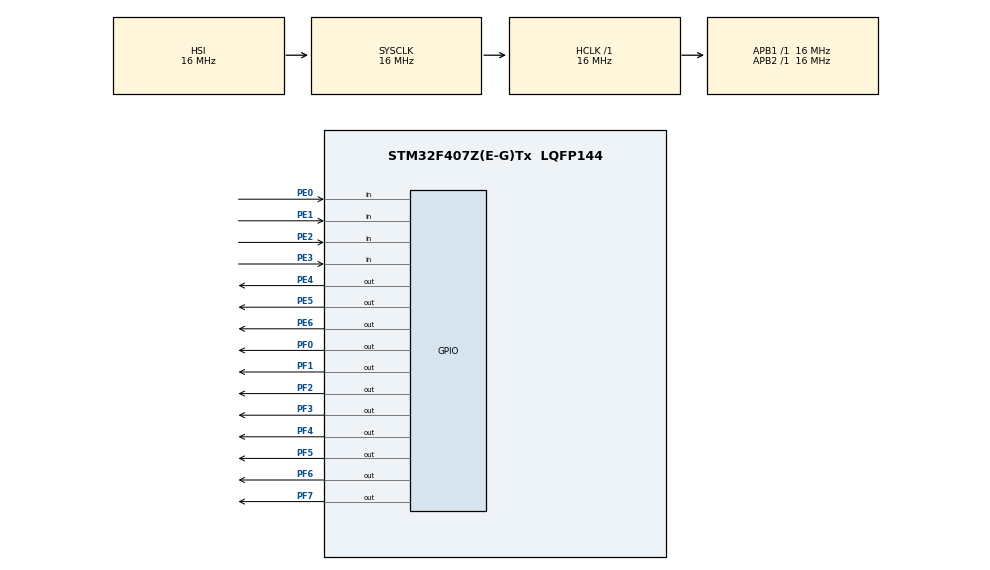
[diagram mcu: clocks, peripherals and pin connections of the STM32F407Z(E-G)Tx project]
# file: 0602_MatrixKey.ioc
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Mcu.Family=STM32F4
Mcu.Name=STM32F407Z(E-G)Tx
Mcu.Package=LQFP144
NVIC.PriorityGroup=NVIC_PRIORITYGROUP_4
PA13.Mode=Serial_Wire
PA13.Signal=SYS_JTMS-SWDIO
PA14.Mode=Serial_Wire
PA14.Signal=SYS_JTCK-SWCLK
PE0.GPIO_PuPd=GPIO_PULLUP
PE0.Signal=GPIO_Input
PE1.GPIO_PuPd=GPIO_PULLUP
PE1.Signal=GPIO_Input
PE2.GPIO_PuPd=GPIO_PULLUP
PE2.Signal=GPIO_Input
PE3.GPIO_PuPd=GPIO_PULLUP
PE3.Signal=GPIO_Input
PE4.Signal=GPIO_Output
PE5.Signal=GPIO_Output
PE6.Signal=GPIO_Output
PF0.Signal=GPIO_Output
PF1.Signal=GPIO_Output
PF2.Signal=GPIO_Output
PF3.Signal=GPIO_Output
PF4.Signal=GPIO_Output
PF5.Signal=GPIO_Output
PF6.Signal=GPIO_Output
PF7.Signal=GPIO_Output
ProjectManager.HeapSize=0x200
ProjectManager.StackSize=0x400
ProjectManager.TargetToolchain=MDK-ARM V5.32
RCC.AHBFreq_Value=16000000
RCC.APB1Freq_Value=16000000
RCC.APB2Freq_Value=16000000
RCC.CortexFreq_Value=16000000
RCC.HSE_VALUE=25000000
RCC.HSI_VALUE=16000000
RCC.LSE_VALUE=32768
RCC.SYSCLKFreq_VALUE=16000000
RCC.VCOOutputFreq_Value=192000000
board=custom

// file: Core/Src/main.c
/* USER CODE BEGIN Header */
/**
  ******************************************************************************
  * @file           : main.c
  * @brief          : Main program body
  ******************************************************************************
  * @attention
  *
  * Copyright (c) 2026 STMicroelectronics.
  * All rights reserved.
  *
  * This software is licensed under terms that can be found in the LICENSE file
  * in the root directory of this software component.
  * If no LICENSE file comes with this software, it is provided AS-IS.
  ******************************************************************************
  */
/* USER CODE END Header */
#include "main.h"

/* USER CODE BEGIN PD */
#define ROW_NUM     3
#define COL_NUM     4
uint16_t ROW_PIN[ROW_NUM] = {GPIO_PIN_4, GPIO_PIN_5, GPIO_PIN_6};
uint16_t COL_PIN[COL_NUM] = {GPIO_PIN_0, GPIO_PIN_1, GPIO_PIN_2, GPIO_PIN_3};
/* USER CODE END PD */

void SystemClock_Config(void);
static void MX_GPIO_Init(void);
/* USER CODE BEGIN PFP */
uint8_t KeyScan(void);
/* USER CODE END PFP */

/* USER CODE BEGIN 0 */
/**
 * @brief 3行4列矩阵键盘扫描
 * @retval 0:无按键  1~12 按键编号
 */
uint8_t KeyScan(void)
{
  uint8_t row, col;
  uint8_t key_val = 0;

  //所有行拉高
  for(row = 0; row < ROW_NUM; row++)
  {
    HAL_GPIO_WritePin(GPIOE, ROW_PIN[row], GPIO_PIN_SET);
  }

  for(row = 0; row < ROW_NUM; row++)
  {
    //全部行先拉高，单独拉低当前行
    for(uint8_t i = 0; i < ROW_NUM; i++)
    {
      HAL_GPIO_WritePin(GPIOE, ROW_PIN[i], GPIO_PIN_SET);
    }
    HAL_GPIO_WritePin(GPIOE, ROW_PIN[row], GPIO_PIN_RESET);

    HAL_Delay(1);
    for(col = 0; col < COL_NUM; col++)
    {
      if(HAL_GPIO_ReadPin(GPIOE, COL_PIN[col]) == GPIO_PIN_RESET)
      {
        HAL_Delay(10);   //消抖
        if(HAL_GPIO_ReadPin(GPIOE, COL_PIN[col]) == GPIO_PIN_RESET)
        {
          key_val = row * COL_NUM + col + 1;
          while(HAL_GPIO_ReadPin(GPIOE, COL_PIN[col]) == GPIO_PIN_RESET); //等待松手
          HAL_Delay(10);
          return key_val;
        }
      }
    }
  }
  return 0;
}
/* USER CODE END 0 */

int main(void)
{

  /* USER CODE BEGIN 1 */
  uint8_t key;
  /* USER CODE END 1 */

  /* MCU Configuration--------------------------------------------------------*/

  /* Reset of all peripherals, Initializes the Flash interface and the Systick. */
  HAL_Init();

  /* Configure the system clock */
  SystemClock_Config();

  /* Initialize all configured peripherals */
  MX_GPIO_Init();
  /* USER CODE BEGIN 2 */
  //上电LED全部熄灭
  HAL_GPIO_WritePin(GPIOF, GPIO_PIN_0|GPIO_PIN_1|GPIO_PIN_2|GPIO_PIN_3
                          |GPIO_PIN_4|GPIO_PIN_5|GPIO_PIN_6|GPIO_PIN_7, GPIO_PIN_RESET);
  /* USER CODE END 2 */

  /* Infinite loop */
  /* USER CODE BEGIN WHILE */
  while (1)
  {
    key = KeyScan();
    if(key != 0)
    {
      //熄灭所有LED
      HAL_GPIO_WritePin(GPIOF, GPIO_PIN_0|GPIO_PIN_1|GPIO_PIN_2|GPIO_PIN_3
                              |GPIO_PIN_4|GPIO_PIN_5|GPIO_PIN_6|GPIO_PIN_7, GPIO_PIN_RESET);
      if(key <= 8)
      {
        HAL_GPIO_WritePin(GPIOF, (1 << (key - 1)), GPIO_PIN_SET);
      }
    }
    HAL_Delay(20);
    /* USER CODE END WHILE */

  }
}

void SystemClock_Config(void)
{
  RCC_OscInitTypeDef RCC_OscInitStruct = {0};
  RCC_ClkInitTypeDef RCC_ClkInitStruct = {0};

  /** Configure the main internal regulator output voltage
  */
  __HAL_RCC_PWR_CLK_ENABLE();
  __HAL_PWR_VOLTAGESCALING_CONFIG(PWR_REGULATOR_VOLTAGE_SCALE1);

  /** Initializes the RCC Oscillators according to the specified parameters
  * in the RCC_OscInitTypeDef structure.
  */
  RCC_OscInitStruct.OscillatorType = RCC_OSCILLATORTYPE_HSI;
  RCC_OscInitStruct.HSIState = RCC_HSI_ON;
  RCC_OscInitStruct.HSICalibrationValue = RCC_HSICALIBRATION_DEFAULT;
  RCC_OscInitStruct.PLL.PLLState = RCC_PLL_NONE;
  if (HAL_RCC_OscConfig(&RCC_OscInitStruct) != HAL_OK)
  {
    Error_Handler();
  }

  /** Initializes the CPU, AHB and APB buses clocks
  */
  RCC_ClkInitStruct.ClockType = RCC_CLOCKTYPE_HCLK|RCC_CLOCKTYPE_SYSCLK
                              |RCC_CLOCKTYPE_PCLK1|RCC_CLOCKTYPE_PCLK2;
  RCC_ClkInitStruct.SYSCLKSource = RCC_SYSCLKSOURCE_HSI;
  RCC_ClkInitStruct.AHBCLKDivider = RCC_SYSCLK_DIV1;
  RCC_ClkInitStruct.APB1CLKDivider = RCC_HCLK_DIV1;
  RCC_ClkInitStruct.APB2CLKDivider = RCC_HCLK_DIV1;

  if (HAL_RCC_ClockConfig(&RCC_ClkInitStruct, FLASH_LATENCY_0) != HAL_OK)
  {
    Error_Handler();
  }
}

static void MX_GPIO_Init(void)
{
  GPIO_InitTypeDef GPIO_InitStruct = {0};

  /* GPIO Ports Clock Enable */
  __HAL_RCC_GPIOE_CLK_ENABLE();
  __HAL_RCC_GPIOF_CLK_ENABLE();
  __HAL_RCC_GPIOA_CLK_ENABLE();

  /*Configure GPIO pin Output Level */
  HAL_GPIO_WritePin(GPIOE, GPIO_PIN_4|GPIO_PIN_5|GPIO_PIN_6, GPIO_PIN_RESET);

  /*Configure GPIO pin Output Level */
  HAL_GPIO_WritePin(GPIOF, GPIO_PIN_0|GPIO_PIN_1|GPIO_PIN_2|GPIO_PIN_3
                          |GPIO_PIN_4|GPIO_PIN_5|GPIO_PIN_6|GPIO_PIN_7, GPIO_PIN_RESET);

  /*Configure GPIO pins : PE2 PE3 PE0 PE1 */
  GPIO_InitStruct.Pin = GPIO_PIN_2|GPIO_PIN_3|GPIO_PIN_0|GPIO_PIN_1;
  GPIO_InitStruct.Mode = GPIO_MODE_INPUT;
  GPIO_InitStruct.Pull = GPIO_PULLUP;
  HAL_GPIO_Init(GPIOE, &GPIO_InitStruct);

  /*Configure GPIO pins : PE4 PE5 PE6 */
  GPIO_InitStruct.Pin = GPIO_PIN_4|GPIO_PIN_5|GPIO_PIN_6;
  GPIO_InitStruct.Mode = GPIO_MODE_OUTPUT_PP;
  GPIO_InitStruct.Pull = GPIO_NOPULL;
  GPIO_InitStruct.Speed = GPIO_SPEED_FREQ_LOW;
  HAL_GPIO_Init(GPIOE, &GPIO_InitStruct);

  /*Configure GPIO pins : PF0 PF1 PF2 PF3
                           PF4 PF5 PF6 PF7 */
  GPIO_InitStruct.Pin = GPIO_PIN_0|GPIO_PIN_1|GPIO_PIN_2|GPIO_PIN_3
                          |GPIO_PIN_4|GPIO_PIN_5|GPIO_PIN_6|GPIO_PIN_7;
  GPIO_InitStruct.Mode = GPIO_MODE_OUTPUT_PP;
  GPIO_InitStruct.Pull = GPIO_NOPULL;
  GPIO_InitStruct.Speed = GPIO_SPEED_FREQ_LOW;
  HAL_GPIO_Init(GPIOF, &GPIO_InitStruct);

}

void Error_Handler(void)
{
  __disable_irq();
  while (1)
  {
  }
}
